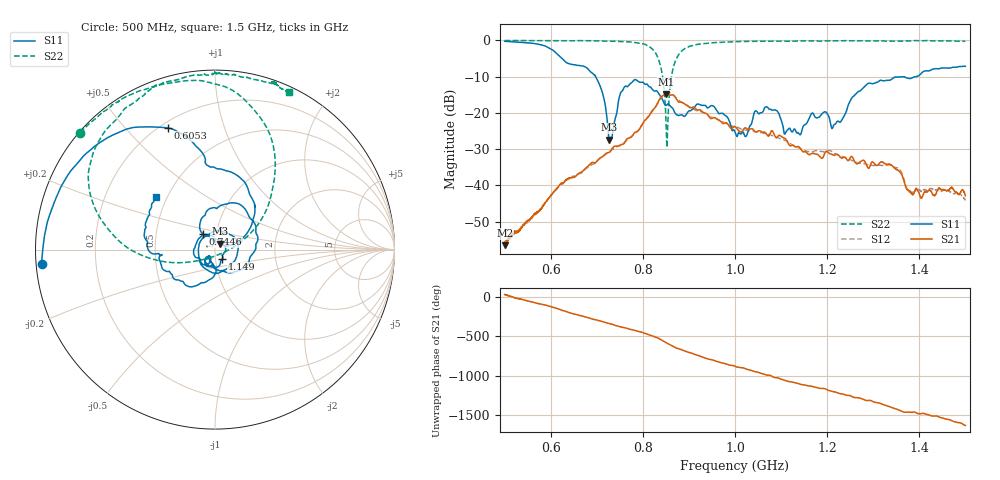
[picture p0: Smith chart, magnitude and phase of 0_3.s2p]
!Agilent Technologies,E8364B,US42250235,A.06.04.32
!Agilent E8364B: A.06.04.32
!Date: Thursday, October 01, 2020 14:02:14
!Correction: S11(Full 2 Port(1,2)) S21(Full 2 Port(1,2)) S12(Full 2 Port(1,2)) S22(Full 2 Port(1,2))
!S2P File: Measurements: S11, S21, S12, S22:
# Hz S  dB  R 50
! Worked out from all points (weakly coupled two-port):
!   2650 points, 500 MHz to 1.5 GHz, reference 50 ohm
!   highest |S21| = -14.91 dB at 849.9 MHz (marker M1); lowest = -56.5 dB at 500.4 MHz (marker M2)
!   lowest |S11| = -27.4 dB at 727.3 MHz (marker M3), VSWR 1.09, Z = 52.6 + j3.53 ohm
!   |S11| at or under -10 dB: 697.5 MHz to 1.394 GHz (696.9 MHz wide, 66.6 % of centre)
!   |S22| runs from -29.5 to -0.1 dB; largest |S21 - S12| = 0.021
!   S11 on the Smith chart (normalised r, x): 500 MHz: 0.02, -0.04; 605.3 MHz: 0.23, +0.66; 744.6 MHz: 0.86, +0.15; 1.149 GHz: 1.08, -0.11; 1.5 GHz: 0.44, +0.31
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5e8  -0.27 -175.3  -56.39 32.1  -56.39 32.9  -0.07 139.0
5.003775e8  -0.28 -175.5  -56.48 30.4  -56.77 29.7  -0.07 139.0
5.554926e8  -0.75 152.3  -49.30 -56.2  -49.38 -57.6  -0.10 132.8
6.053228e8  -2.78 111.0  -42.02 -130.0  -42.04 -132.2  -0.13 126.5
6.668554e8  -7.07 81.5  -36.26 120.7  -36.57 116.2  -0.10 121.7
7.068705e8  -12.48 32.7  -32.49 57.7  -32.66 53.7  -0.18 116.4
7.272556e8  -27.38 51.5  -30.90 23.8  -30.75 19.4  -0.25 112.2
7.446206e8  -19.13 127.4  -29.18 -8.4  -29.30 -10.7  -0.30 107.3
7.819932e8  -10.88 64.2  -25.49 -63.4  -25.83 -68.7  -0.57 93.0
8.337108e8  -14.53 -34.4  -16.86 -162.4  -17.08 -168.0  -5.17 52.6
8.499434e8  -17.96 -71.4  -14.91 142.7  -14.90 138.5  -21.21 2.7
8.673084e8  -19.40 -142.7  -15.18 89.2  -15.26 84.3  -6.96 -178.4
8.89581e8  -20.98 120.2  -17.49 38.4  -17.43 32.4  -2.43 156.5
9.514911e8  -18.06 -65.8  -21.45 -78.0  -21.25 -85.2  -0.68 124.0
1.000189e9  -25.37 -136.2  -23.82 -159.0  -23.74 -165.0  -0.38 113.5
1.068139e9  -18.36 -171.6  -25.84 91.4  -25.82 87.3  -0.26 109.9
1.148924e9  -23.54 -52.0  -30.75 -33.4  -30.26 -35.5  -0.18 96.8
1.166667e9  -20.15 -82.8  -31.22 -52.7  -30.78 -55.4  -0.20 93.8
1.213477e9  -23.64 -111.0  -31.65 -120.5  -31.11 -130.3  -0.16 89.4
1.333522e9  -11.00 -154.0  -34.12 53.3  -34.42 53.3  -0.23 80.0
1.38373e9  -10.41 -173.8  -42.37 -22.8  -41.87 -22.0  -0.15 70.3
1.5e9  -7.19 138.4  -42.86 170.4  -43.98 178.9  -0.29 64.9
